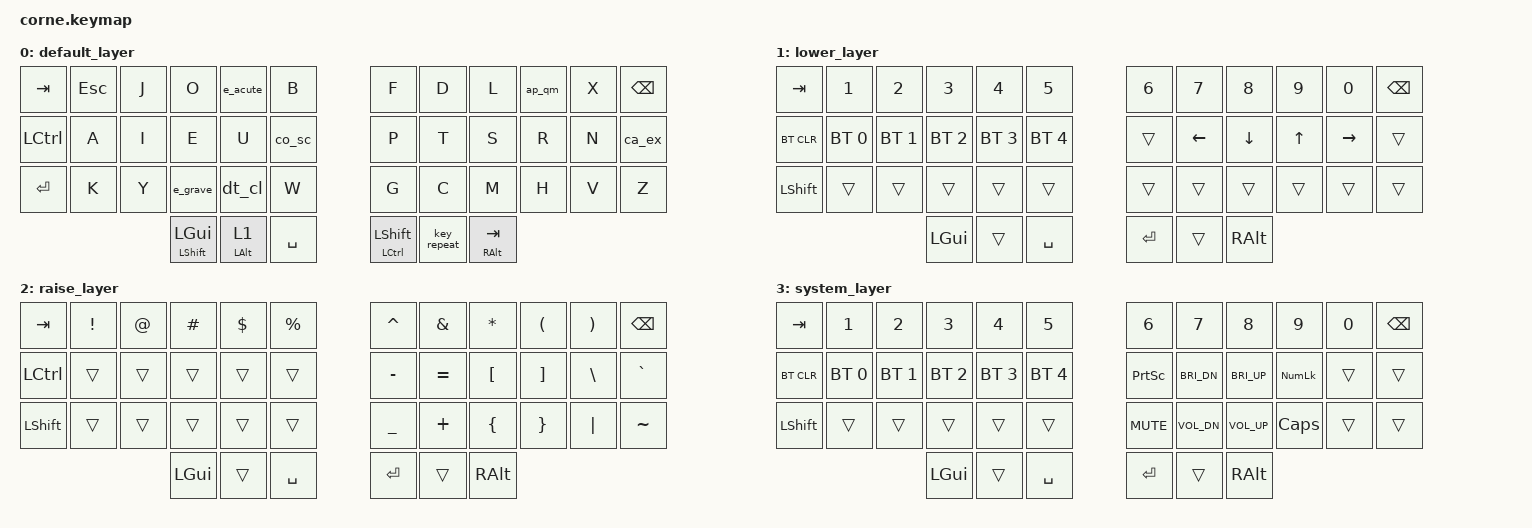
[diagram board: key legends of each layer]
/*
 * Copyright (c) 2020 The ZMK Contributors
 *
 * SPDX-License-Identifier: MIT
 */

#include <behaviors.dtsi>
#include <dt-bindings/zmk/keys.h>
#include <dt-bindings/zmk/bt.h>

#define DEFAULT 0
#define LOWER   1
#define RAISE   2
#define SYSTEM  3

&sk {
    release-after-ms = <2000>;
    quick-release;
    /delete-property/ ignore-modifiers;
};

&key_repeat {
    usage-pages = <HID_USAGE_KEY HID_USAGE_CONSUMER>;
};

/ {
    combos {
        compatible = "zmk,combos";
        combo_a_grave {
            timeout-ms = <30>;
            key-positions = <3 4>;  // O + É
            bindings = <&a_grave>;
        };
        combo_system { // Bluetooth, OS settings
            timeout-ms = <30>;
            key-positions = <10 11>;  // X + BKSP
            bindings = <&to 3>;
        };
        combo_q {
            timeout-ms = <30>;
            key-positions = <7 8>;  // D + L
            bindings = <&kp Q>;
        };
        combo_underscore {
            timeout-ms = <30>;
            key-positions = <26 27>;  // Y + È
            bindings = <&kp UNDER>;
        };
        combo_dash {
            timeout-ms = <30>;
            key-positions = <27 28>;  // È + .
            bindings = <&kp MINUS>;
        };
        combo_c_cedilla {
            timeout-ms = <30>;
            key-positions = <31 32>;  // C + M
            bindings = <&c_cedilla>;
        };
        combo_z {
            timeout-ms = <30>;
            key-positions = <32 33>;  // M + H
            bindings = <&kp Z>;
        };
        combo_enter {
            timeout-ms = <30>;
            key-positions = <16 38>;  // U + SPACE
            bindings = <&kp ENTER>;
        };
    };

    macros {
        // Internals
        a_capital_grave_internal: a_capital_grave_internal {
            compatible = "zmk,behavior-macro";
            #binding-cells = <0>;
            wait-ms = <0>;
            tap-ms = <0>;
            bindings = <&macro_tap &kp GRAVE &kp LS(A)>;
        };
        a_small_grave_internal: a_small_grave_internal {
            compatible = "zmk,behavior-macro";
            #binding-cells = <0>;
            wait-ms = <0>;
            tap-ms = <0>;
            bindings = <&macro_tap &kp GRAVE &kp A>;
        };
        e_capital_acute_internal: e_capital_acute_internal {
            compatible = "zmk,behavior-macro";
            #binding-cells = <0>;
            wait-ms = <0>;
            tap-ms = <0>;
            bindings = <&macro_tap &sk RALT &kp LS(E)>;
        };
        e_small_acute_internal: e_small_acute_internal {
            compatible = "zmk,behavior-macro";
            #binding-cells = <0>;
            wait-ms = <0>;
            tap-ms = <0>;
            bindings = <&macro_tap &sk RALT &kp E>;
        };
        e_capital_grave_internal: e_capital_grave_internal {
            compatible = "zmk,behavior-macro";
            #binding-cells = <0>;
            wait-ms = <0>;
            tap-ms = <0>;
            bindings = <&macro_tap &kp GRAVE &kp E>;
        };
        e_small_grave_internal: e_small_grave_internal {
            compatible = "zmk,behavior-macro";
            #binding-cells = <0>;
            wait-ms = <0>;
            tap-ms = <0>;
            bindings = <&macro_tap &kp GRAVE &kp E>;
        };
        apos_internal: apos_internal {
            compatible = "zmk,behavior-macro";
            #binding-cells = <0>;
            wait-ms = <0>;
            tap-ms = <0>;
            bindings = <&macro_tap &kp APOSTROPHE &kp SPACE>;
        };
        c_capital_cedilla_internal: c_capital_cedilla_internal {
            compatible = "zmk,behavior-macro";
            #binding-cells = <0>;
            wait-ms = <0>;
            tap-ms = <0>;
            bindings = <&macro_tap &sk RALT &kp LS(COMMA)>;
        };
        c_small_cedilla_internal: c_small_cedilla_internal {
            compatible = "zmk,behavior-macro";
            #binding-cells = <0>;
            wait-ms = <0>;
            tap-ms = <0>;
            bindings = <&macro_tap &sk RALT &kp COMMA>;
        };

        // Macros using internals
        a_capital_grave: a_capital_grave {
            compatible = "zmk,behavior-macro";
            #binding-cells = <0>;
            wait-ms = <0>;
            tap-ms = <0>;
            bindings
                = <&macro_press &a_capital_grave_internal>
                , <&macro_pause_for_release>
                , <&macro_release &a_capital_grave_internal>
                ;
        };
        a_small_grave: a_small_grave {
            compatible = "zmk,behavior-macro";
            #binding-cells = <0>;
            wait-ms = <0>;
            tap-ms = <0>;
            bindings
                = <&macro_press &a_small_grave_internal>
                , <&macro_pause_for_release>
                , <&macro_release &a_small_grave_internal>
                ;
        };
        e_capital_acute: e_capital_acute {
            compatible = "zmk,behavior-macro";
            #binding-cells = <0>;
            wait-ms = <0>;
            tap-ms = <0>;
            bindings
                = <&macro_press &e_capital_acute_internal>
                , <&macro_pause_for_release>
                , <&macro_release &e_capital_acute_internal>
                ;
        };
        e_small_acute: e_small_acute {
            compatible = "zmk,behavior-macro";
            #binding-cells = <0>;
            wait-ms = <0>;
            tap-ms = <0>;
            bindings
                = <&macro_press &e_small_acute_internal>
                , <&macro_pause_for_release>
                , <&macro_release &e_small_acute_internal>
                ;
        };
        e_capital_grave: e_capital_grave {
            compatible = "zmk,behavior-macro";
            #binding-cells = <0>;
            wait-ms = <0>;
            tap-ms = <0>;
            bindings
                = <&macro_press &e_capital_grave_internal>
                , <&macro_pause_for_release>
                , <&macro_release &e_capital_grave_internal>
                ;
        };
        e_small_grave: e_small_grave {
            compatible = "zmk,behavior-macro";
            #binding-cells = <0>;
            wait-ms = <40>;
            tap-ms = <40>;
            bindings
                = <&macro_press &e_small_grave_internal>
                , <&macro_pause_for_release>
                , <&macro_release &e_small_grave_internal>
                ;
        };
        c_capital_cedilla: c_capital_cedilla {
            compatible = "zmk,behavior-macro";
            #binding-cells = <0>;
            wait-ms = <0>;
            tap-ms = <0>;
            bindings
                = <&macro_press &c_capital_cedilla_internal>
                , <&macro_pause_for_release>
                , <&macro_release &c_capital_cedilla_internal>
                ;
        };
        c_small_cedilla: c_small_cedilla {
            compatible = "zmk,behavior-macro";
            #binding-cells = <0>;
            wait-ms = <0>;
            tap-ms = <0>;
            bindings
                = <&macro_press &c_small_cedilla_internal>
                , <&macro_pause_for_release>
                , <&macro_release &c_small_cedilla_internal>
                ;
        };
        apos: apos {
            compatible = "zmk,behavior-macro";
            #binding-cells = <0>;
            wait-ms = <0>;
            tap-ms = <0>;
            bindings
                = <&macro_press &apos_internal>
                , <&macro_pause_for_release>
                , <&macro_release &apos_internal>
                ;
        };
    };

    behaviors {
        a_grave: a_grave {
            compatible = "zmk,behavior-mod-morph";
            #binding-cells = <0>;
            bindings = <&a_small_grave>, <&a_capital_grave>;
            mods = <(MOD_LSFT|MOD_RSFT)>;
        };
        e_grave: e_grave {
            compatible = "zmk,behavior-mod-morph";
            #binding-cells = <0>;
            bindings = <&e_small_grave>, <&e_capital_grave>;
            mods = <(MOD_LSFT|MOD_RSFT)>;
        };
        e_acute: e_acute {
            compatible = "zmk,behavior-mod-morph";
            #binding-cells = <0>;
            bindings = <&e_small_acute>, <&e_capital_acute>;
            mods = <(MOD_LSFT|MOD_RSFT)>;
        };
        c_cedilla: c_cedilla {
            compatible = "zmk,behavior-mod-morph";
            #binding-cells = <0>;
            bindings = <&c_small_cedilla>, <&c_capital_cedilla>;
            mods = <(MOD_LSFT|MOD_RSFT)>;
        };
        ap_qm: ap_qm {
            compatible = "zmk,behavior-mod-morph";
            #binding-cells = <0>;
            bindings = <&apos>, <&kp QMARK>;
            mods = <(MOD_LSFT|MOD_RSFT)>;
        };
        ca_ex: ca_ex {
            compatible = "zmk,behavior-mod-morph";
            #binding-cells = <0>;
            bindings = <&kp CARET>, <&kp EXCL>;
            mods = <(MOD_LSFT|MOD_RSFT)>;
        };
        co_sc: co_sc {
            compatible = "zmk,behavior-mod-morph";
            #binding-cells = <0>;
            bindings = <&kp COMMA>, <&kp SEMICOLON>;
            mods = <(MOD_LSFT|MOD_RSFT)>;
        };
        dt_cl: dt_cl {
            compatible = "zmk,behavior-mod-morph";
            #binding-cells = <0>;
            bindings = <&kp DOT>, <&kp COLON>;
            mods = <(MOD_LSFT|MOD_RSFT)>;
        };
        mt_sk: mod_sticky_tap {
            compatible = "zmk,behavior-hold-tap";
            #binding-cells = <2>;
            flavor = "hold-preferred";
            tapping-term-ms = <200>;
            bindings = <&kp>, <&sk>;
            display-name = "Mod-Tap";
        };
        mt_sl: mod_tap_mo {
            compatible = "zmk,behavior-hold-tap";
            #binding-cells = <2>;
            flavor = "hold-preferred";
            tapping-term-ms = <200>;
            bindings = <&kp>, <&sl>;
            display-name = "Mod-Tap";
        };
    };


    keymap {
        compatible = "zmk,keymap";

        default_layer {
            // -----------------------------------------------------------------------------------------
            // | TAB  |  À  |  J  |  O  |  É  |  B  |      |  F  |  D  |  L  | ' ? |  X  | BKSP |
            // | CTRL |  A  |  I  |  E  |  U  | , ; |      |  P  |  T  |  S  |  R  |  N  | ^ !  |
            // | SHFT |  K  |  Y  |  È  | . : |  W  |      |  G  |  C  |  M  |  H  |  V  | Z    |
            //                    | GUI | LWR | SPC |      | ENT | RSE | ALT |
            // LEGEND:
            // DT_CL = dot, colon
            // AP_QM = apostrophe, question mark
            // CO_SC = comma, semicolon
            // CA_EX = carret, exclamation point

            bindings = <
&kp TAB    &kp ESC  &kp J  &kp O              &e_acute       &kp B            &kp F               &kp D        &kp L            &ap_qm  &kp X  &kp BSPC
&kp LCTRL  &kp A    &kp I  &kp E              &kp U          &co_sc           &kp P               &kp T        &kp S            &kp R   &kp N  &ca_ex
&kp RET    &kp K    &kp Y  &e_grave           &dt_cl         &kp W            &kp G               &kp C        &kp M            &kp H   &kp V  &kp Z
                           &mt_sk LSHFT LGUI  &mt_sl LALT 1  &kp SPACE        &mt_sk LCTRL LSHFT  &key_repeat  &mt_sk RALT TAB
            >;
        };

        lower_layer {
            // -----------------------------------------------------------------------------------------
            // |  TAB |  1  |  2  |  3  |  4  |  5  |      |  6  |  7  |  8  |  9  |  0  | BKSP |
            // | BTCLR| BT1 | BT2 | BT3 | BT4 | BT5 |      | LFT | DWN |  UP | RGT |     |      |
            // | SHFT |     |     |     |     |     |      |     |     |     |     |     |      |
            //                    | GUI |     | SPC |      | ENT |     | ALT |

            bindings = <
&kp TAB     &kp N1        &kp N2        &kp N3        &kp N4        &kp N5              &kp N6    &kp N7    &kp N8    &kp N9  &kp N0     &kp BSPC
&bt BT_CLR  &bt BT_SEL 0  &bt BT_SEL 1  &bt BT_SEL 2  &bt BT_SEL 3  &bt BT_SEL 4        &trans    &kp LEFT  &kp DOWN  &kp UP  &kp RIGHT  &trans
&kp LSHFT   &trans        &trans        &trans        &trans        &trans              &trans    &trans    &trans    &trans  &trans     &trans
                                        &kp LGUI      &trans        &kp SPACE           &kp RET   &trans    &kp RALT
            >;
        };

        raise_layer {
            // -----------------------------------------------------------------------------------------
            // |  TAB |  !  |  @  |  #  |  $  |  %  |      |  ^  |  &  |  *  |  (  |  )  | BKSP |
            // | CTRL |     |     |     |     |     |      |  -  |  =  |  [  |  ]  |  \  |  `   |
            // | SHFT |     |     |     |     |     |      |  _  |  +  |  {  |  }  | "|" |  ~   |
            //                    | GUI |     | SPC |      | ENT |     | ALT |

            bindings = <
&kp TAB    &kp EXCL  &kp AT  &kp HASH  &kp DLLR  &kp PRCNT    &kp CARET  &kp AMPS   &kp ASTRK  &kp LPAR  &kp RPAR  &kp BSPC
&kp LCTRL  &trans    &trans  &trans    &trans    &trans       &kp MINUS  &kp EQUAL  &kp LBKT   &kp RBKT  &kp BSLH  &kp GRAVE
&kp LSHFT  &trans    &trans  &trans    &trans    &trans       &kp UNDER  &kp PLUS   &kp LBRC   &kp RBRC  &kp PIPE  &kp TILDE
                             &kp LGUI  &trans    &kp SPACE    &kp RET    &trans     &kp RALT
            >;
        };
        
        system_layer {
            // -----------------------------------------------------------------------------------------
            // |  TAB |  1  |  2  |  3  |  4  |  5  |      |  6  |  7  |  8  |  9  |  0  | BKSP |
            // | BTCLR| BT1 | BT2 | BT3 | BT4 | BT5 |      | LFT | DWN |  UP | RGT |     |      |
            // | SHFT |     |     |     |     |     |      |     |     |     |     |     |      |
            //                    | GUI |     | SPC |      | ENT |     | ALT |

            bindings = <
&kp TAB     &kp N1        &kp N2        &kp N3        &kp N4        &kp N5              &kp N6      &kp N7        &kp N8        &kp N9      &kp N0  &kp BSPC
&bt BT_CLR  &bt BT_SEL 0  &bt BT_SEL 1  &bt BT_SEL 2  &bt BT_SEL 3  &bt BT_SEL 4        &kp PSCRN   &kp C_BRI_DN  &kp C_BRI_UP  &kp KP_NUM  &trans  &trans
&kp LSHFT   &trans        &trans        &trans        &trans        &trans              &kp C_MUTE  &kp C_VOL_DN  &kp C_VOL_UP  &kp CAPS    &trans  &trans
                                        &kp LGUI      &trans        &kp SPACE           &kp RET     &trans        &kp RALT
            >;
        };
    };
};
